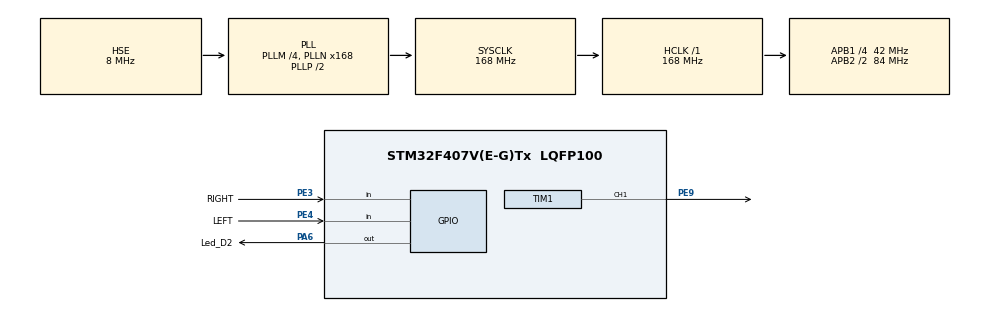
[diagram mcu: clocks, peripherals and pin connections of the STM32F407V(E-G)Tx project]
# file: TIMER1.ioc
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Mcu.Family=STM32F4
Mcu.Name=STM32F407V(E-G)Tx
Mcu.Package=LQFP100
NVIC.PriorityGroup=NVIC_PRIORITYGROUP_4
PA13.Mode=Serial_Wire
PA13.Signal=SYS_JTMS-SWDIO
PA14.Mode=Serial_Wire
PA14.Signal=SYS_JTCK-SWCLK
PA6.GPIO_Label=Led_D2
PA6.PinState=GPIO_PIN_SET
PA6.Signal=GPIO_Output
PC14-OSC32_IN.Mode=LSE-External-Oscillator
PC14-OSC32_IN.Signal=RCC_OSC32_IN
PC15-OSC32_OUT.Mode=LSE-External-Oscillator
PC15-OSC32_OUT.Signal=RCC_OSC32_OUT
PE3.GPIO_Label=RIGHT
PE3.GPIO_PuPd=GPIO_PULLUP
PE3.Signal=GPIO_Input
PE4.GPIO_Label=LEFT
PE4.GPIO_PuPd=GPIO_PULLUP
PE4.Signal=GPIO_Input
PE9.Signal=S_TIM1_CH1
PH0-OSC_IN.Mode=HSE-External-Oscillator
PH0-OSC_IN.Signal=RCC_OSC_IN
PH1-OSC_OUT.Mode=HSE-External-Oscillator
PH1-OSC_OUT.Signal=RCC_OSC_OUT
ProjectManager.HeapSize=0x200
ProjectManager.StackSize=0x400
ProjectManager.TargetToolchain=MDK-ARM V5.32
RCC.48MHZClocksFreq_Value=84000000
RCC.AHBFreq_Value=168000000
RCC.APB1CLKDivider=RCC_HCLK_DIV4
RCC.APB1Freq_Value=42000000
RCC.APB1TimFreq_Value=84000000
RCC.APB2CLKDivider=RCC_HCLK_DIV2
RCC.APB2Freq_Value=84000000
RCC.APB2TimFreq_Value=168000000
RCC.CortexFreq_Value=168000000
RCC.HCLKFreq_Value=168000000
RCC.HSE_VALUE=8000000
RCC.HSI_VALUE=16000000
RCC.PLLM=4
RCC.PLLN=168
RCC.PLLSourceVirtual=RCC_PLLSOURCE_HSE
RCC.SYSCLKFreq_VALUE=168000000
RCC.SYSCLKSource=RCC_SYSCLKSOURCE_PLLCLK
RCC.VCOOutputFreq_Value=336000000
SH.S_TIM1_CH1.0=TIM1_CH1,PWM Generation1 CH1
TIM1.Channel-Output\ Compare2\ CH2=TIM_CHANNEL_2
TIM1.Channel-PWM\ Generation1\ CH1=TIM_CHANNEL_1
TIM1.Period=1000-1
TIM1.Prescaler=3360-1
TIM1.Pulse-PWM\ Generation1\ CH1=450
VP_TIM1_VS_ClockSourceINT.Mode=Internal
board=custom

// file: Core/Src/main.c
/* USER CODE BEGIN Header */
/**
  ******************************************************************************
  * @file           : main.c
  * @brief          : Main program body
  ******************************************************************************
  * @attention
  *
  * Copyright (c) 2023 STMicroelectronics.
  * All rights reserved.
  *
  * This software is licensed under terms that can be found in the LICENSE file
  * in the root directory of this software component.
  * If no LICENSE file comes with this software, it is provided AS-IS.
  *
  ******************************************************************************
  */
/* USER CODE END Header */
#include "main.h"
#include "tim.h"
#include "gpio.h"

/* USER CODE BEGIN PV */

int var_CR1 =25;

/* USER CODE END PV */

void SystemClock_Config(void);

/* USER CODE BEGIN 0 */
void dieukhiengoc(int goc)
{
	 __HAL_TIM_SetCompare(&htim1,TIM_CHANNEL_1,goc);
}

/* USER CODE END 0 */

int main(void)
{

  /* MCU Configuration--------------------------------------------------------*/

  /* Reset of all peripherals, Initializes the Flash interface and the Systick. */
  HAL_Init();

  /* Configure the system clock */
  SystemClock_Config();

  /* Initialize all configured peripherals */
  MX_GPIO_Init();
  MX_TIM1_Init();
  /* USER CODE BEGIN 2 */
	HAL_TIM_PWM_Start(&htim1,TIM_CHANNEL_1);
  /* USER CODE END 2 */

  /* Infinite loop */
  while (1)
  {

    /* USER CODE BEGIN 3 */

	  if ((HAL_GPIO_ReadPin(LEFT_GPIO_Port, LEFT_Pin)==0) )
		{
			HAL_Delay(20);
			if (HAL_GPIO_ReadPin(LEFT_GPIO_Port, LEFT_Pin)==0)
			{
				  var_CR1= var_CR1 +5;
					if(var_CR1>=120)
					{
						var_CR1=120;
					}
				while (HAL_GPIO_ReadPin(LEFT_GPIO_Port, LEFT_Pin) == 0)
				{
				}
			}
		}
	  if ((HAL_GPIO_ReadPin(RIGHT_GPIO_Port, RIGHT_Pin)==0) )
		{
			HAL_Delay(20);
			if (HAL_GPIO_ReadPin(RIGHT_GPIO_Port, RIGHT_Pin)==0)
			{
				var_CR1= var_CR1 -5;

				if(var_CR1<=25)
					{
						var_CR1=25;
					}
				while (HAL_GPIO_ReadPin(RIGHT_GPIO_Port, RIGHT_Pin) == 0)
				{
				}
			}
		}
		dieukhiengoc(var_CR1);

////
//		for( int i =25;i<120;i=i+10)
//		{
//			var_CR1 = i;
//			__HAL_TIM_SetCompare(&htim1,TIM_CHANNEL_1,var_CR1);
//			HAL_Delay(50);
//
//		}
//
////		for(int i =120 ;i>25;i=i-10)
////		{
////				var_CR1 = i;
////			__HAL_TIM_SetCompare(&htim1,TIM_CHANNEL_1,var_CR1);
////				HAL_Delay(50);
////
////		}
	}

//	__HAL_TIM_SetCompare(&htim1,TIM_CHANNEL_1,var_CR1);

  /* USER CODE END 3 */
}

void SystemClock_Config(void)
{
  RCC_OscInitTypeDef RCC_OscInitStruct = {0};
  RCC_ClkInitTypeDef RCC_ClkInitStruct = {0};

  /** Configure the main internal regulator output voltage
  */
  __HAL_RCC_PWR_CLK_ENABLE();
  __HAL_PWR_VOLTAGESCALING_CONFIG(PWR_REGULATOR_VOLTAGE_SCALE1);

  /** Initializes the RCC Oscillators according to the specified parameters
  * in the RCC_OscInitTypeDef structure.
  */
  RCC_OscInitStruct.OscillatorType = RCC_OSCILLATORTYPE_HSE;
  RCC_OscInitStruct.HSEState = RCC_HSE_ON;
  RCC_OscInitStruct.PLL.PLLState = RCC_PLL_ON;
  RCC_OscInitStruct.PLL.PLLSource = RCC_PLLSOURCE_HSE;
  RCC_OscInitStruct.PLL.PLLM = 4;
  RCC_OscInitStruct.PLL.PLLN = 168;
  RCC_OscInitStruct.PLL.PLLP = RCC_PLLP_DIV2;
  RCC_OscInitStruct.PLL.PLLQ = 4;
  if (HAL_RCC_OscConfig(&RCC_OscInitStruct) != HAL_OK)
  {
    Error_Handler();
  }

  /** Initializes the CPU, AHB and APB buses clocks
  */
  RCC_ClkInitStruct.ClockType = RCC_CLOCKTYPE_HCLK|RCC_CLOCKTYPE_SYSCLK
                              |RCC_CLOCKTYPE_PCLK1|RCC_CLOCKTYPE_PCLK2;
  RCC_ClkInitStruct.SYSCLKSource = RCC_SYSCLKSOURCE_PLLCLK;
  RCC_ClkInitStruct.AHBCLKDivider = RCC_SYSCLK_DIV1;
  RCC_ClkInitStruct.APB1CLKDivider = RCC_HCLK_DIV4;
  RCC_ClkInitStruct.APB2CLKDivider = RCC_HCLK_DIV2;

  if (HAL_RCC_ClockConfig(&RCC_ClkInitStruct, FLASH_LATENCY_5) != HAL_OK)
  {
    Error_Handler();
  }
}

void Error_Handler(void)
{
  __disable_irq();
  while (1)
  {
  }
}
